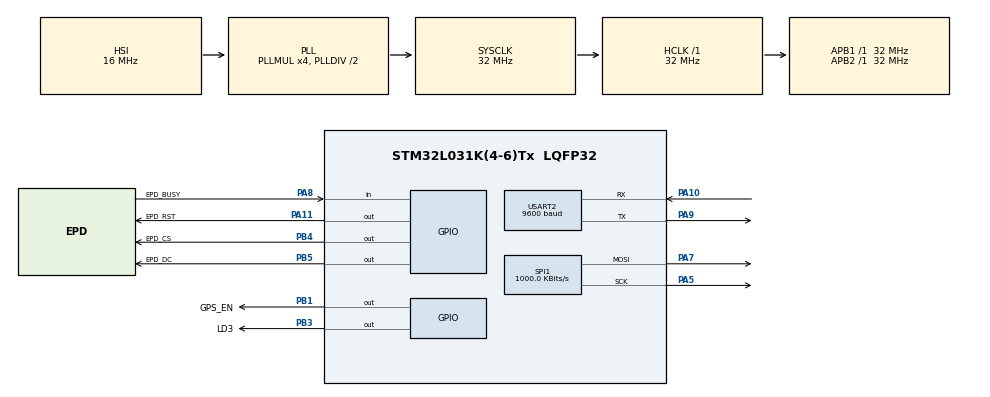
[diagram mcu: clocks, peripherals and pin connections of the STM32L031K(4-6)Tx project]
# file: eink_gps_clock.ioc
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Mcu.Family=STM32L0
Mcu.Name=STM32L031K(4-6)Tx
Mcu.Package=LQFP32
NVIC.RTC_IRQn=true\:2\:0\:true\:false\:true\:true\:true\:true
NVIC.USART2_IRQn=true\:3\:0\:true\:false\:true\:true\:true\:true
PA10.Mode=Asynchronous
PA10.Signal=USART2_RX
PA11.GPIO_Label=EPD_RST
PA11.Signal=GPIO_Output
PA13.Mode=Serial_Wire
PA13.Signal=SYS_SWDIO
PA14.Mode=Serial_Wire
PA14.Signal=SYS_SWCLK
PA5.Mode=TX_Only_Simplex_Unidirect_Master
PA5.Signal=SPI1_SCK
PA7.Mode=TX_Only_Simplex_Unidirect_Master
PA7.Signal=SPI1_MOSI
PA8.GPIO_Label=EPD_BUSY
PA8.Signal=GPIO_Input
PA9.Mode=Asynchronous
PA9.Signal=USART2_TX
PB1.GPIO_Label=GPS_EN
PB1.Signal=GPIO_Output
PB3.GPIO_Label=LD3
PB3.Signal=GPIO_Output
PB4.GPIO_Label=EPD_CS
PB4.Signal=GPIO_Output
PB5.GPIO_Label=EPD_DC
PB5.Signal=GPIO_Output
PC14-OSC32_IN.Mode=LSE-External-Oscillator
PC14-OSC32_IN.Signal=RCC_OSC32_IN
PC15-OSC32_OUT.Mode=LSE-External-Oscillator
PC15-OSC32_OUT.Signal=RCC_OSC32_OUT
ProjectManager.HeapSize=0x200
ProjectManager.StackSize=0x400
ProjectManager.TargetToolchain=CMake
RCC.AHBFreq_Value=32000000
RCC.APB1Freq_Value=32000000
RCC.APB1TimFreq_Value=32000000
RCC.APB2Freq_Value=32000000
RCC.APB2TimFreq_Value=32000000
RCC.HCLKFreq_Value=32000000
RCC.HSE_VALUE=8000000
RCC.HSI16_VALUE=16000000
RCC.HSI_VALUE=16000000
RCC.MSI_VALUE=2097000
RCC.PLLMUL=RCC_PLLMUL_4
RCC.RTCClockSelection=RCC_RTCCLKSOURCE_LSE
RCC.RTCClockSelectionVirtual=RCC_RTCCLKSOURCE_LSE
RCC.SYSCLKFreq_VALUE=32000000
RCC.SYSCLKSource=RCC_SYSCLKSOURCE_PLLCLK
RCC.VCOOutputFreq_Value=64000000
RTC.WakeUpClock-WakeUp=RTC_WAKEUPCLOCK_CK_SPRE_16BITS
RTC.WakeUpCounter-WakeUp=0xA
SPI1.BaudRatePrescaler=SPI_BAUDRATEPRESCALER_32
SPI1.CalculateBaudRate=1000.0 KBits/s
SPI1.Direction=SPI_DIRECTION_2LINES
SPI1.Mode=SPI_MODE_MASTER
SPI1.VirtualType=VM_MASTER
USART2.BaudRate=9600
USART2.VirtualMode-Asynchronous=VM_ASYNC
VP_RTC_VS_RTC_Activate.Mode=RTC_Enabled
VP_RTC_VS_RTC_WakeUp_intern.Mode=WakeUp
board=custom

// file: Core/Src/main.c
/* USER CODE BEGIN Header */
/**
  ******************************************************************************
  * @file           : main.c
  * @brief          : Main program body
  ******************************************************************************
  * @attention
  *
  * Copyright (c) 2026 STMicroelectronics.
  * All rights reserved.
  *
  * This software is licensed under terms that can be found in the LICENSE file
  * in the root directory of this software component.
  * If no LICENSE file comes with this software, it is provided AS-IS.
  *
  ******************************************************************************
  */
/* USER CODE END Header */
#include "main.h"
#include "rtc.h"
#include "spi.h"
#include "usart.h"
#include "gpio.h"

/* USER CODE BEGIN Includes */
#include "epd_util.h"
#include <stdio.h>
#include "string.h"
#include "stdlib.h"
/* USER CODE END Includes */

void SystemClock_Config(void);

/* USER CODE BEGIN 0 */
#define LINE_MAX_LENGTH	128
static char line_buffer[LINE_MAX_LENGTH + 1];
static uint32_t line_length;
static uint8_t rx_data;

RTC_TimeTypeDef time;
RTC_DateTypeDef date;
RTC_TimeTypeDef new_time = {0};
RTC_DateTypeDef new_date = {0};

#define GPS_SYNC_ATTEMPT_TIMEOUT 128
#define WAKEUPS_BEFORE_SYNC 4

int GPS_SyncAttempts = 0;
/*
states:
0 - go to sleep
1 - print hour to eink
2 - synchronizing with GPS
3 - GPS sync success
4 - GPS sync unsuccessful
*/
int state = 2;
int time_set = 0;

void parse_gnzda(char *line_buffer, RTC_TimeTypeDef *new_time, RTC_DateTypeDef *new_date) {
  char temp[LINE_MAX_LENGTH+1];
  if (strncmp(line_buffer, "$GNZDA,", 7) != 0) {
    return;
  }
  GPS_SyncAttempts++;

  strncpy(temp, line_buffer + 7, sizeof(temp)-1);
  temp[sizeof(temp)-1] = '\0';
  char *token;
  token = strtok(temp, ",");
  if (token && strlen(token)>=6) {
    // extract time
    char hh[3] = {token[0], token[1], '\0'};
    char mm[3] = {token[2], token[3], '\0'};
    char ss[3] = {token[4], token[5], '\0'};
    new_time->Hours = (hh[0] - '0') * 10 + (hh[1] - '0');
    new_time->Minutes = (mm[0] - '0') * 10 + (mm[1] - '0');
    new_time->Seconds = (ss[0] - '0') * 10 + (ss[1] - '0');
    HAL_RTC_SetTime(&hrtc, new_time, RTC_FORMAT_BIN);
    time_set = 1;
  }

  int date_fields = 0;
  //extract Day
  token = strtok(NULL, ",");
  if (token && strlen(token)>=2)
  {
    new_date->Date = (token[0] - '0') * 10 + (token[1] - '0');
    date_fields++;
  }

  //extract Month
  token = strtok(NULL, ",");
  if (token && strlen(token)>=2)
  {
    new_date->Month = (token[0] - '0') * 10 + (token[1] - '0');
    date_fields++;
  }

  //extract year
  token = strtok(NULL, ",");
  if (token && strlen(token)>=4)
  {
    new_date->Year = (token[0] - '0') * 1000 + (token[1] - '0') * 100 + (token[2] - '0') * 10 + (token[3] - '0');
    new_date->Year %= 100;
    date_fields++;
  }

  if (date_fields == 3) {
    HAL_RTC_SetDate(&hrtc, new_date, RTC_FORMAT_BIN);
  }
  if (time_set == 1 && date_fields == 3) {
    // syncing successful
    time_set = 0;
    date_fields = 0;
    GPS_SyncAttempts = 0;
    state = 3;
  }
}

void line_append(uint8_t value)
{
  if (line_length == 0) {
    if (value != '$')
      return;
  }
	if (value == '\r' || value == '\n') {
		// odebraliśmy znak końca linii
		if (line_length > 0) {
			// jeśli bufor nie jest pusty to dodajemy 0 na końcu linii
			line_buffer[line_length] = '\0';
			// przetwarzamy dane
      parse_gnzda(line_buffer, &new_time, &new_date);
			// zaczynamy zbieranie danych od nowa
			line_length = 0;
		}
	}
	else {
		if (line_length >= LINE_MAX_LENGTH) {
			// za dużo danych, usuwamy wszystko co odebraliśmy dotychczas
			line_length = 0;
		}
		// dopisujemy wartość do bufora
		line_buffer[line_length++] = value;
	}
}

// Interrupt callback for UART reception
void HAL_UART_RxCpltCallback(UART_HandleTypeDef *huart) {
    if (huart->Instance == USART2) {  // Check if it's from USART2 (GPS)
    	line_append(rx_data);
    	HAL_UART_Receive_IT(&huart2, &rx_data, 1);  // Restart reception
    }
}

/*
// printf redirection to USART2 (Terminal)
int __io_putchar(int ch)
{
    if (ch == '\n') {
        uint8_t ch2 = '\r';
        HAL_UART_Transmit(&hlpuart1, &ch2, 1, 1000);
    }
    HAL_UART_Transmit(&hlpuart1, (uint8_t*)&ch, 1, 1000);
    return 1;
}
*/

int wakeUpsBeforeGPSSync = WAKEUPS_BEFORE_SYNC;

void HAL_RTCEx_WakeUpTimerEventCallback(RTC_HandleTypeDef *hrtc) {
  wakeUpsBeforeGPSSync--;
  if (wakeUpsBeforeGPSSync == 0) {
    state = 2;
    wakeUpsBeforeGPSSync = WAKEUPS_BEFORE_SYNC;
  } else if (state != 2) {
    state = 1;
  }
}

/* USER CODE END 0 */

int main(void)
{

  /* MCU Configuration--------------------------------------------------------*/

  /* Reset of all peripherals, Initializes the Flash interface and the Systick. */
  HAL_Init();

  /* Configure the system clock */
  SystemClock_Config();

  /* Initialize all configured peripherals */
  MX_GPIO_Init();
  MX_USART2_UART_Init();
  MX_SPI1_Init();
  MX_RTC_Init();
  /* USER CODE BEGIN 2 */
  HAL_UART_Receive_IT(&huart2, &rx_data, 1);
  // EPD_Test();
  EPD_Init();
  HAL_GPIO_WritePin(GPS_EN_GPIO_Port, GPS_EN_Pin, GPIO_PIN_RESET);

  /* USER CODE END 2 */

  /* Infinite loop */
  /* USER CODE BEGIN WHILE */
  while (1)
  {
    switch(state) {
      case 0:
        // go to sleep
        HAL_RTCEx_DeactivateWakeUpTimer(&hrtc);
        if (HAL_RTCEx_SetWakeUpTimer_IT(&hrtc, 0xA, RTC_WAKEUPCLOCK_CK_SPRE_16BITS) != HAL_OK) {
          Error_Handler();
        }
        HAL_SuspendTick();
        HAL_PWR_EnterSTOPMode(PWR_LOWPOWERREGULATOR_ON, PWR_STOPENTRY_WFI);
        SystemClock_Config();
        break;
      case 1:
        HAL_GPIO_WritePin(LD3_GPIO_Port, LD3_Pin, GPIO_PIN_SET);
        // do job, when done change state to 0
        HAL_RTC_GetTime(&hrtc, &time, RTC_FORMAT_BIN);
        HAL_RTC_GetDate(&hrtc, &date, RTC_FORMAT_BIN);

        EPD_Reinit();
        EPD_PrintDateTime(&time, &date, "");
        EPD_SleepNoClear();
        state = 0;
        HAL_GPIO_WritePin(LD3_GPIO_Port, LD3_Pin, GPIO_PIN_RESET);
        break;
      case 2:
        if (GPS_SyncAttempts > GPS_SYNC_ATTEMPT_TIMEOUT) {
          state = 4;
        }
        // turn on GPS pin
        HAL_GPIO_WritePin(GPS_EN_GPIO_Port, GPS_EN_Pin, GPIO_PIN_SET);
        break;
      case 3:
        EPD_Reinit();
        EPD_PrintDateTime(&time, &date, "GPS sync successful");
        EPD_SleepNoClear();
        // turn off GPS pin
        HAL_GPIO_WritePin(GPS_EN_GPIO_Port, GPS_EN_Pin, GPIO_PIN_RESET);
        // reset syncCountdown
        wakeUpsBeforeGPSSync = WAKEUPS_BEFORE_SYNC;
        GPS_SyncAttempts = 0;
        // go to state 1
        state = 1;
        break;
      case 4:
        EPD_Reinit();
        EPD_PrintDateTime(&time, &date, "GPS sync failed");
        EPD_SleepNoClear();
        // turn off GPS pin
        HAL_GPIO_WritePin(GPS_EN_GPIO_Port, GPS_EN_Pin, GPIO_PIN_RESET);
        // reset syncCountdown
        wakeUpsBeforeGPSSync = WAKEUPS_BEFORE_SYNC;
        GPS_SyncAttempts = 0;
        // go to state 1
        state = 1;
        break;
      default:
    }

    /* USER CODE END WHILE */

  }
}

void SystemClock_Config(void)
{
  RCC_OscInitTypeDef RCC_OscInitStruct = {0};
  RCC_ClkInitTypeDef RCC_ClkInitStruct = {0};
  RCC_PeriphCLKInitTypeDef PeriphClkInit = {0};

  /** Configure the main internal regulator output voltage
  */
  __HAL_PWR_VOLTAGESCALING_CONFIG(PWR_REGULATOR_VOLTAGE_SCALE1);

  /** Configure LSE Drive Capability
  */
  HAL_PWR_EnableBkUpAccess();
  __HAL_RCC_LSEDRIVE_CONFIG(RCC_LSEDRIVE_LOW);

  /** Initializes the RCC Oscillators according to the specified parameters
  * in the RCC_OscInitTypeDef structure.
  */
  RCC_OscInitStruct.OscillatorType = RCC_OSCILLATORTYPE_HSI|RCC_OSCILLATORTYPE_LSE;
  RCC_OscInitStruct.LSEState = RCC_LSE_ON;
  RCC_OscInitStruct.HSIState = RCC_HSI_ON;
  RCC_OscInitStruct.HSICalibrationValue = RCC_HSICALIBRATION_DEFAULT;
  RCC_OscInitStruct.PLL.PLLState = RCC_PLL_ON;
  RCC_OscInitStruct.PLL.PLLSource = RCC_PLLSOURCE_HSI;
  RCC_OscInitStruct.PLL.PLLMUL = RCC_PLLMUL_4;
  RCC_OscInitStruct.PLL.PLLDIV = RCC_PLLDIV_2;
  if (HAL_RCC_OscConfig(&RCC_OscInitStruct) != HAL_OK)
  {
    Error_Handler();
  }

  /** Initializes the CPU, AHB and APB buses clocks
  */
  RCC_ClkInitStruct.ClockType = RCC_CLOCKTYPE_HCLK|RCC_CLOCKTYPE_SYSCLK
                              |RCC_CLOCKTYPE_PCLK1|RCC_CLOCKTYPE_PCLK2;
  RCC_ClkInitStruct.SYSCLKSource = RCC_SYSCLKSOURCE_PLLCLK;
  RCC_ClkInitStruct.AHBCLKDivider = RCC_SYSCLK_DIV1;
  RCC_ClkInitStruct.APB1CLKDivider = RCC_HCLK_DIV1;
  RCC_ClkInitStruct.APB2CLKDivider = RCC_HCLK_DIV1;

  if (HAL_RCC_ClockConfig(&RCC_ClkInitStruct, FLASH_LATENCY_1) != HAL_OK)
  {
    Error_Handler();
  }
  PeriphClkInit.PeriphClockSelection = RCC_PERIPHCLK_USART2|RCC_PERIPHCLK_RTC;
  PeriphClkInit.Usart2ClockSelection = RCC_USART2CLKSOURCE_PCLK1;
  PeriphClkInit.RTCClockSelection = RCC_RTCCLKSOURCE_LSE;
  if (HAL_RCCEx_PeriphCLKConfig(&PeriphClkInit) != HAL_OK)
  {
    Error_Handler();
  }
}

void Error_Handler(void)
{
  __disable_irq();
  while (1)
  {
  }
}
